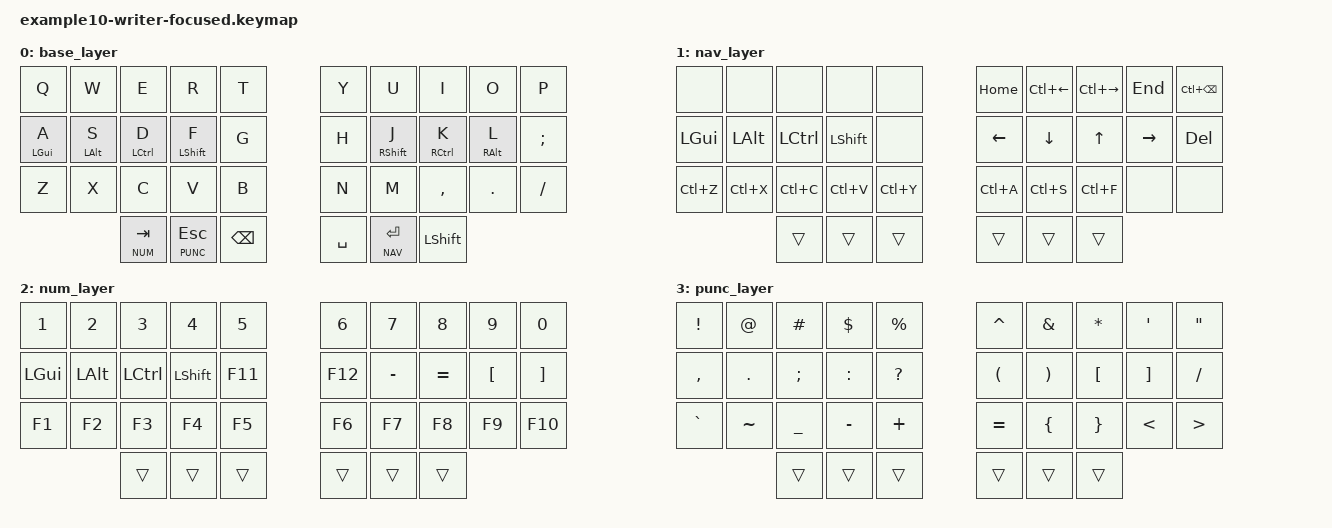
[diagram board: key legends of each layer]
// Example 10: Writer & Prose Focused
// Philosophy: Optimize for natural language, not code
// Focus: Punctuation easily accessible, comfortable for long typing sessions
// Thumb Strategy: Space bar dominant, modifiers accessible but not intrusive

#include <behaviors.dtsi>
#include <dt-bindings/zmk/keys.h>

#define BASE 0
#define NAV  1
#define NUM  2
#define PUNC 3

/ {
    keymap {
        compatible = "zmk,keymap";

        base_layer {
            bindings = <
    // ╭─────────────┬─────────────┬─────────────┬─────────────┬─────────────╮   ╭─────────────┬─────────────┬─────────────┬─────────────┬─────────────╮
         &kp Q         &kp W         &kp E         &kp R         &kp T             &kp Y         &kp U         &kp I         &kp O         &kp P
    // ├─────────────┼─────────────┼─────────────┼─────────────┼─────────────┤   ├─────────────┼─────────────┼─────────────┼─────────────┼─────────────┤
         &mt LGUI A    &mt LALT S    &mt LCTRL D   &mt LSHFT F   &kp G             &kp H         &mt RSHFT J   &mt RCTRL K   &mt RALT L    &kp SEMI
    // ├─────────────┼─────────────┼─────────────┼─────────────┼─────────────┤   ├─────────────┼─────────────┼─────────────┼─────────────┼─────────────┤
         &kp Z         &kp X         &kp C         &kp V         &kp B             &kp N         &kp M         &kp COMMA     &kp DOT       &kp FSLH
    // ╰─────────────┴─────────────┴─────────────┼─────────────┼─────────────┤   ├─────────────┼─────────────┼─────────────┴─────────────┴─────────────╯
                                     &lt NUM TAB   &lt PUNC ESC  &kp BSPC          &kp SPACE     &lt NAV RET   &kp LSHFT
    //                               ╰─────────────┴─────────────┴─────────────╯   ╰─────────────┴─────────────┴─────────────╯
            >;
        };

        nav_layer {
            // Word processing shortcuts and navigation
            bindings = <
         &none         &none         &none         &none         &none             &kp HOME      &kp LC(LEFT)  &kp LC(RIGHT) &kp END       &kp LC(BSPC)
         &kp LGUI      &kp LALT      &kp LCTRL     &kp LSHFT     &none             &kp LEFT      &kp DOWN      &kp UP        &kp RIGHT     &kp DEL
         &kp LC(Z)     &kp LC(X)     &kp LC(C)     &kp LC(V)     &kp LC(Y)         &kp LC(A)     &kp LC(S)     &kp LC(F)     &none         &none
                                     &trans        &trans        &trans            &trans        &trans        &trans
            >;
        };

        num_layer {
            bindings = <
         &kp N1        &kp N2        &kp N3        &kp N4        &kp N5            &kp N6        &kp N7        &kp N8        &kp N9        &kp N0
         &kp LGUI      &kp LALT      &kp LCTRL     &kp LSHFT     &kp F11           &kp F12       &kp MINUS     &kp EQUAL     &kp LBKT      &kp RBKT
         &kp F1        &kp F2        &kp F3        &kp F4        &kp F5            &kp F6        &kp F7        &kp F8        &kp F9        &kp F10
                                     &trans        &trans        &trans            &trans        &trans        &trans
            >;
        };

        punc_layer {
            // Common punctuation for writing
            bindings = <
         &kp EXCL      &kp AT        &kp HASH      &kp DLLR      &kp PRCNT         &kp CARET     &kp AMPS      &kp STAR      &kp SQT       &kp DQT
         &kp COMMA     &kp DOT       &kp SEMI      &kp COLON     &kp QMARK         &kp LPAR      &kp RPAR      &kp LBKT      &kp RBKT      &kp FSLH
         &kp GRAVE     &kp TILDE     &kp UNDER     &kp MINUS     &kp PLUS          &kp EQUAL     &kp LBRC      &kp RBRC      &kp LT        &kp GT
                                     &trans        &trans        &trans            &trans        &trans        &trans
            >;
        };
    };
};
